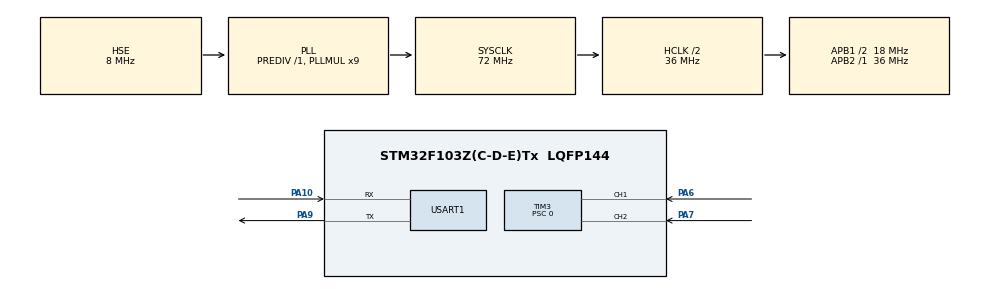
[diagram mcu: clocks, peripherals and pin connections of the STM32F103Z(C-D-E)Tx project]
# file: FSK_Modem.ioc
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Mcu.Family=STM32F1
Mcu.Name=STM32F103Z(C-D-E)Tx
Mcu.Package=LQFP144
NVIC.PriorityGroup=NVIC_PRIORITYGROUP_4
NVIC.TIM3_IRQn=true\:0\:0\:false\:false\:true\:true\:true
NVIC.USART1_IRQn=true\:0\:0\:false\:false\:true\:true\:true
OSC_IN.Mode=HSE-External-Oscillator
OSC_IN.Signal=RCC_OSC_IN
OSC_OUT.Mode=HSE-External-Oscillator
OSC_OUT.Signal=RCC_OSC_OUT
PA10.Mode=Asynchronous
PA10.Signal=USART1_RX
PA13.Mode=JTAG_5_pins
PA13.Signal=SYS_JTMS-SWDIO
PA14.Mode=JTAG_5_pins
PA14.Signal=SYS_JTCK-SWCLK
PA15.Mode=JTAG_5_pins
PA15.Signal=SYS_JTDI
PA6.Signal=S_TIM3_CH1
PA7.Signal=S_TIM3_CH2
PA9.Mode=Asynchronous
PA9.Signal=USART1_TX
PB3.Mode=JTAG_5_pins
PB3.Signal=SYS_JTDO-TRACESWO
PB4.Mode=JTAG_5_pins
PB4.Signal=SYS_NJTRST
PC14-OSC32_IN.Mode=LSE-External-Oscillator
PC14-OSC32_IN.Signal=RCC_OSC32_IN
PC15-OSC32_OUT.Mode=LSE-External-Oscillator
PC15-OSC32_OUT.Signal=RCC_OSC32_OUT
ProjectManager.HeapSize=0x200
ProjectManager.StackSize=0x400
ProjectManager.TargetToolchain=STM32CubeIDE
RCC.AHBCLKDivider=RCC_SYSCLK_DIV2
RCC.AHBFreq_Value=36000000
RCC.APB1CLKDivider=RCC_HCLK_DIV2
RCC.APB1Freq_Value=18000000
RCC.APB1TimFreq_Value=36000000
RCC.APB2Freq_Value=36000000
RCC.APB2TimFreq_Value=36000000
RCC.EnbaleCSS=true
RCC.HCLKFreq_Value=36000000
RCC.PLLMUL=RCC_PLL_MUL9
RCC.PLLSourceVirtual=RCC_PLLSOURCE_HSE
RCC.SYSCLKFreq_VALUE=72000000
RCC.SYSCLKSource=RCC_SYSCLKSOURCE_PLLCLK
RCC.USBFreq_Value=72000000
SH.S_TIM3_CH1.0=TIM3_CH1,Input_Capture1_from_TI1
SH.S_TIM3_CH2.0=TIM3_CH2,Input_Capture2_from_TI2
TIM3.AutoReloadPreload=TIM_AUTORELOAD_PRELOAD_DISABLE
TIM3.Channel-Input_Capture1_from_TI1=TIM_CHANNEL_1
TIM3.Channel-Input_Capture2_from_TI2=TIM_CHANNEL_2
TIM3.ICPrescaler-Input_Capture1_from_TI1=TIM_ICPSC_DIV1
TIM3.Prescaler=0
USART1.VirtualMode=VM_ASYNC
VP_TIM3_VS_ClockSourceINT.Mode=Internal
board=custom

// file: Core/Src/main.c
/* USER CODE BEGIN Header */
/**
 ******************************************************************************
 * @file           : main.c
 * @brief          : Main program body
 ******************************************************************************
 * @attention
 *
 * <h2><center>&copy; Copyright (c) 2020 STMicroelectronics.
 * All rights reserved.</center></h2>
 *
 * This software component is licensed by ST under BSD 3-Clause license,
 * the "License"; You may not use this file except in compliance with the
 * License. You may obtain a copy of the License at:
 *                        opensource.org/licenses/BSD-3-Clause
 *
 ******************************************************************************
 */
/* USER CODE END Header */
#include "main.h"

/* USER CODE BEGIN Includes */
#include <stdio.h>
#include <string.h>
/* USER CODE END Includes */

TIM_HandleTypeDef htim3;

UART_HandleTypeDef huart1;

void SystemClock_Config(void);
static void MX_GPIO_Init(void);
static void MX_USART1_UART_Init(void);
static void MX_TIM3_Init(void);

/* USER CODE BEGIN 0 */
uint32_t IC_Value1 = 0, uPrintFreq = 0;;
uint32_t IC_Value2 = 0;
uint32_t Difference = 0;
uint32_t Frequency = 0;
uint8_t Is_First_Captured = 0;  // 0- not captured, 1- captured
volatile uint16_t gu16_TIM2_OVC = 0;
volatile uint16_t fIntCounter = 0;
volatile uint8_t trigred = 0;
uint8_t fCounter = 0;
uint32_t tmpFreq = 0, f1=0,f2=0;

/* USER CODE END 0 */

int main(void)
{
  /* USER CODE BEGIN 1 */
  uint8_t byteCounter = 0, nCounter=0;;
  uint8_t store = 0,nible=0;
  uint8_t strBuff[256] = {0};
  uint8_t inByte=0;
  /* USER CODE END 1 */

  /* MCU Configuration--------------------------------------------------------*/

  /* Reset of all peripherals, Initializes the Flash interface and the Systick. */
  HAL_Init();

  /* Configure the system clock */
  SystemClock_Config();

  /* Initialize all configured peripherals */
  MX_GPIO_Init();
  MX_USART1_UART_Init();
  MX_TIM3_Init();

  /* Infinite loop */
  /* USER CODE BEGIN WHILE */

//  HAL_TIM_PWM_Start(&htim4, TIM_CHANNEL_1);

  HAL_TIM_IC_Start_IT(&htim3, TIM_CHANNEL_1);
  HAL_TIM_IC_Start_IT(&htim3, TIM_CHANNEL_2);

  char iBuff[256] = {0};
  HAL_UART_Transmit(&huart1, (uint8_t*)"Init...\r\n", 9, 0xFFFF);

  while (1)
    {
      if(uPrintFreq)
	{
//	  sprintf(iBuff,"Freq:%d\r\n", Frequency);
//	  HAL_UART_Transmit(&huart1,(uint8_t*) iBuff, strlen(iBuff), 0xFFFF);
	  if ((Frequency > 400 && Frequency<600)&& (!store))//STX
	    {
	      store = 1;
	    }

	  else if(Frequency > 960 && Frequency< 1040)
	    {
	      inByte|=1;

	    }

	   else if( Frequency > 1360 && Frequency < 1440)
	    {
	      inByte|=2;

	    }
	  else if(Frequency > 1760 && Frequency< 1840)
	    {
	      inByte|=4;
	    }

	  else if( Frequency > 2160 && Frequency < 2240)
	    {
	      inByte|=8;
	    }

	  if ((Frequency > 2460 && Frequency<2540)&& (store))//ETX
	    {
	      store = 0;
	      byteCounter++;
	      if(nible==0)
		{
		      inByte=(inByte<<4);
		      nible =1;
		}
	      if((byteCounter%2==0))
		{

		  inByte = (inByte << 4) | (inByte >> (4));
		  strBuff[nCounter++]=	inByte;	 //n2;
		  sprintf(iBuff,"%c", inByte);
		  HAL_UART_Transmit(&huart1,(uint8_t*) iBuff, strlen(iBuff), 0xFFFF);
		  inByte=0;
		  nible=0;

		}

	    }
	  if ((Frequency > 2760 && Frequency<2840))
	    {
	      strBuff[nCounter+1] = 0x00;
	      sprintf(iBuff,"\r\nMSG:\r\n%s\r\n", strBuff);
	      HAL_UART_Transmit(&huart1,(uint8_t*)iBuff, strlen(iBuff), 0xFFFF);
	      memset(strBuff,0,nCounter+1);
	      byteCounter = 0;
	      nCounter = 0;

	    }

	  tmpFreq = Frequency;
	  uPrintFreq = 0;
	}

    /* USER CODE END WHILE */

    }
}

void SystemClock_Config(void)
{
  RCC_OscInitTypeDef RCC_OscInitStruct = {0};
  RCC_ClkInitTypeDef RCC_ClkInitStruct = {0};

  /** Initializes the RCC Oscillators according to the specified parameters
  * in the RCC_OscInitTypeDef structure.
  */
  RCC_OscInitStruct.OscillatorType = RCC_OSCILLATORTYPE_HSE;
  RCC_OscInitStruct.HSEState = RCC_HSE_ON;
  RCC_OscInitStruct.HSEPredivValue = RCC_HSE_PREDIV_DIV1;
  RCC_OscInitStruct.HSIState = RCC_HSI_ON;
  RCC_OscInitStruct.PLL.PLLState = RCC_PLL_ON;
  RCC_OscInitStruct.PLL.PLLSource = RCC_PLLSOURCE_HSE;
  RCC_OscInitStruct.PLL.PLLMUL = RCC_PLL_MUL9;
  if (HAL_RCC_OscConfig(&RCC_OscInitStruct) != HAL_OK)
  {
    Error_Handler();
  }
  /** Initializes the CPU, AHB and APB buses clocks
  */
  RCC_ClkInitStruct.ClockType = RCC_CLOCKTYPE_HCLK|RCC_CLOCKTYPE_SYSCLK
                              |RCC_CLOCKTYPE_PCLK1|RCC_CLOCKTYPE_PCLK2;
  RCC_ClkInitStruct.SYSCLKSource = RCC_SYSCLKSOURCE_PLLCLK;
  RCC_ClkInitStruct.AHBCLKDivider = RCC_SYSCLK_DIV2;
  RCC_ClkInitStruct.APB1CLKDivider = RCC_HCLK_DIV2;
  RCC_ClkInitStruct.APB2CLKDivider = RCC_HCLK_DIV1;

  if (HAL_RCC_ClockConfig(&RCC_ClkInitStruct, FLASH_LATENCY_2) != HAL_OK)
  {
    Error_Handler();
  }
  /** Enables the Clock Security System
  */
  HAL_RCC_EnableCSS();
}

static void MX_TIM3_Init(void)
{

  TIM_ClockConfigTypeDef sClockSourceConfig = {0};
  TIM_MasterConfigTypeDef sMasterConfig = {0};
  TIM_IC_InitTypeDef sConfigIC = {0};

  htim3.Instance = TIM3;
  htim3.Init.Prescaler = 3;
  htim3.Init.CounterMode = TIM_COUNTERMODE_UP;
  htim3.Init.Period = 65535;
  htim3.Init.ClockDivision = TIM_CLOCKDIVISION_DIV1;
  htim3.Init.AutoReloadPreload = TIM_AUTORELOAD_PRELOAD_DISABLE;
  if (HAL_TIM_Base_Init(&htim3) != HAL_OK)
  {
    Error_Handler();
  }
  sClockSourceConfig.ClockSource = TIM_CLOCKSOURCE_INTERNAL;
  if (HAL_TIM_ConfigClockSource(&htim3, &sClockSourceConfig) != HAL_OK)
  {
    Error_Handler();
  }
  if (HAL_TIM_IC_Init(&htim3) != HAL_OK)
  {
    Error_Handler();
  }
  sMasterConfig.MasterOutputTrigger = TIM_TRGO_RESET;
  sMasterConfig.MasterSlaveMode = TIM_MASTERSLAVEMODE_DISABLE;
  if (HAL_TIMEx_MasterConfigSynchronization(&htim3, &sMasterConfig) != HAL_OK)
  {
    Error_Handler();
  }
  sConfigIC.ICPolarity = TIM_INPUTCHANNELPOLARITY_RISING;
  sConfigIC.ICSelection = TIM_ICSELECTION_DIRECTTI;
  sConfigIC.ICPrescaler = TIM_ICPSC_DIV1;
  sConfigIC.ICFilter = 0;
  if (HAL_TIM_IC_ConfigChannel(&htim3, &sConfigIC, TIM_CHANNEL_1) != HAL_OK)
  {
    Error_Handler();
  }
  if (HAL_TIM_IC_ConfigChannel(&htim3, &sConfigIC, TIM_CHANNEL_2) != HAL_OK)
  {
    Error_Handler();
  }

}

static void MX_USART1_UART_Init(void)
{

  huart1.Instance = USART1;
  huart1.Init.BaudRate = 115200;
  huart1.Init.WordLength = UART_WORDLENGTH_8B;
  huart1.Init.StopBits = UART_STOPBITS_1;
  huart1.Init.Parity = UART_PARITY_NONE;
  huart1.Init.Mode = UART_MODE_TX_RX;
  huart1.Init.HwFlowCtl = UART_HWCONTROL_NONE;
  huart1.Init.OverSampling = UART_OVERSAMPLING_16;
  if (HAL_UART_Init(&huart1) != HAL_OK)
  {
    Error_Handler();
  }

}

static void MX_GPIO_Init(void)
{

  /* GPIO Ports Clock Enable */
  __HAL_RCC_GPIOC_CLK_ENABLE();
  __HAL_RCC_GPIOA_CLK_ENABLE();
  __HAL_RCC_GPIOB_CLK_ENABLE();

}

/* USER CODE BEGIN 4 */
void HAL_TIM_IC_CaptureCallback(TIM_HandleTypeDef *htim)
{
  if (htim->Channel == HAL_TIM_ACTIVE_CHANNEL_1)  // if interrput source is channel 1
    {
      //      trigred = 1;
      //      fIntCounter++;
      if (Is_First_Captured==0)  // is the first value captured ?
	{
	  IC_Value1 = HAL_TIM_ReadCapturedValue(htim, TIM_CHANNEL_1);  // capture the first value

	  Is_First_Captured +=1;  // set the first value captured as true
	}

      else if (Is_First_Captured )  // if the first is captured
	{
	  IC_Value2 = HAL_TIM_ReadCapturedValue(htim, TIM_CHANNEL_1);  // capture second value

	  if (IC_Value2 > IC_Value1)
	    {
	      Difference = (gu16_TIM2_OVC * 65536)+IC_Value2-IC_Value1;   // calculate the difference
	    }

	  else if (IC_Value2 < IC_Value1)
	    {
	      Difference = (((gu16_TIM2_OVC * 65536)+0xffff-IC_Value1)+IC_Value2) +1;
	    }

	  else
	    {
	      Error_Handler();
	    }

	  Frequency = (HAL_RCC_GetHCLKFreq()/Difference)>>2;  // calculate frequency
	  Is_First_Captured = 0;  // reset the first captured
	  uPrintFreq = 1;
	}

    }

}
void HAL_TIM_PeriodElapsedCallback(TIM_HandleTypeDef* htim)
{
  gu16_TIM2_OVC++;
}
/* USER CODE END 4 */

void Error_Handler(void)
{
}

/************************ (C) COPYRIGHT STMicroelectronics *****END OF FILE****/
